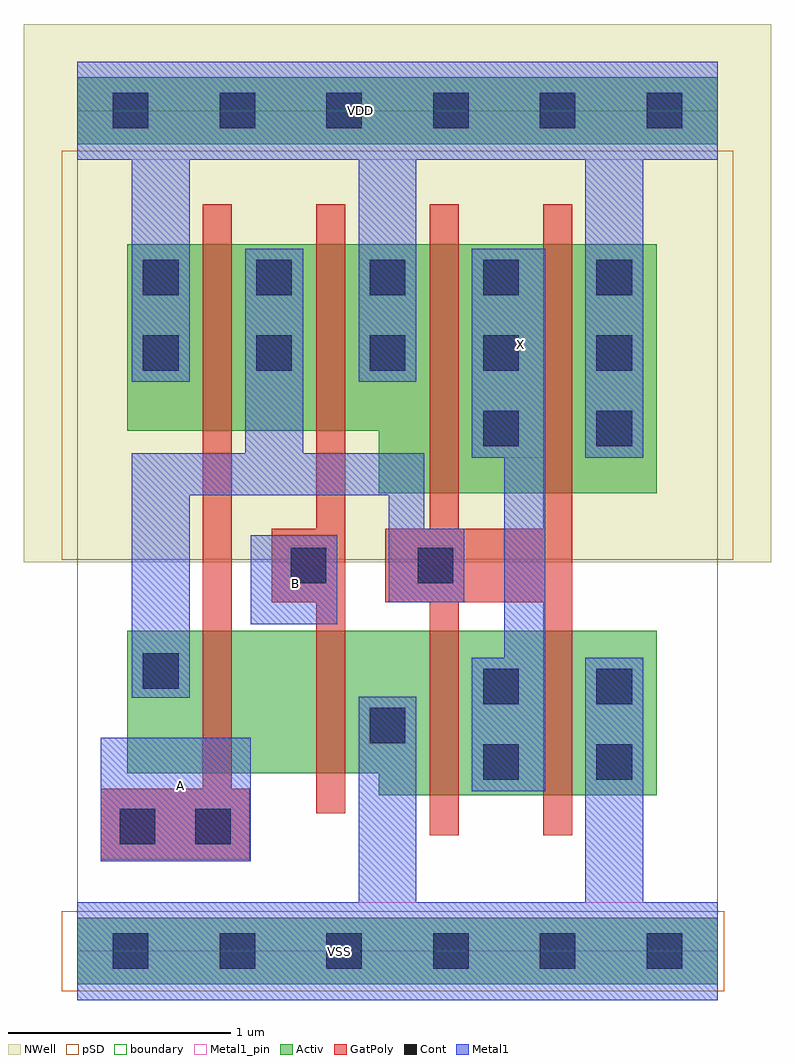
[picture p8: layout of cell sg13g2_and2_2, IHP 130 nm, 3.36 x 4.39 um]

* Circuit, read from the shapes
.subckt sg13g2_and2_2 A B VDD VSS X
XM1 n1 A n2 VSS sg13_lv_nmos w=0.64u l=0.13u
XM2 VSS B n1 VSS sg13_lv_nmos w=0.64u l=0.13u
XM3 X n2 VSS VSS sg13_lv_nmos w=0.74u l=0.13u m=2
XM4 n2 A VDD VDD sg13_lv_pmos w=0.84u l=0.13u
XM5 VDD B n2 VDD sg13_lv_pmos w=0.84u l=0.13u
XM6 X n2 VDD VDD sg13_lv_pmos w=1.12u l=0.13u m=2
.ends

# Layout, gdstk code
import gdstk
lib = gdstk.Library(unit=1e-6, precision=1e-09)
def R(c, l, rs):  # rectangles x0, y0, x1, y1
    for r in rs: c.add(gdstk.rectangle(r[:2], r[2:], *l))
def P(c, l, *ps):  # polygons
    for p in ps: c.add(gdstk.Polygon(p, *l))
Activ = (1, 0)
GatPoly = (5, 0)
Cont = (6, 0)
Metal1 = (8, 0)
Metal1_pin = (8, 2)
pSD = (14, 0)
NWell = (31, 0)
boundary = (189, 4)

sg13g2_and2_2 = lib.new_cell('sg13g2_and2_2')
R(sg13g2_and2_2, Activ, [(0,-0.15,2.88,0.15), (0,-0.15,2.88,0.15), (0,3.63,2.88,3.93), (0,3.63,2.88,3.93)])
P(sg13g2_and2_2, Activ, [(1.355,0.7),(1.355,0.8),(0.225,0.8),(0.225,1.44),(2.605,1.44),(2.605,0.7)],
  [(1.355,2.06),(1.355,2.34),(0.225,2.34),(0.225,3.18),(2.605,3.18),(2.605,2.06)],
  [(1.355,0.7),(1.355,0.8),(0.225,0.8),(0.225,1.44),(2.605,1.44),(2.605,0.7)],
  [(1.355,2.06),(1.355,2.34),(0.225,2.34),(0.225,3.18),(2.605,3.18),(2.605,2.06)])
P(sg13g2_and2_2, GatPoly, [(1.585,0.52),(1.585,1.57),(1.385,1.57),(1.385,1.9),(1.585,1.9),(1.585,3.36),(1.715,3.36),(1.715,1.9),(2.095,1.9),(2.095,3.36),(2.225,3.36),(2.225,0.52),(2.095,0.52),(2.095,1.57),(1.715,1.57),(1.715,0.52)],
  [(0.105,0.41),(0.105,0.73),(0.565,0.73),(0.565,3.36),(0.695,3.36),(0.695,0.73),(0.775,0.73),(0.775,0.41)],
  [(1.075,0.62),(1.075,1.57),(0.875,1.57),(0.875,1.9),(1.075,1.9),(1.075,3.36),(1.205,3.36),(1.205,0.62)],
  [(1.585,0.52),(1.585,1.57),(1.385,1.57),(1.385,1.9),(1.585,1.9),(1.585,3.36),(1.715,3.36),(1.715,1.9),(2.095,1.9),(2.095,3.36),(2.225,3.36),(2.225,0.52),(2.095,0.52),(2.095,1.57),(1.715,1.57),(1.715,0.52)],
  [(0.105,0.41),(0.105,0.73),(0.565,0.73),(0.565,3.36),(0.695,3.36),(0.695,0.73),(0.775,0.73),(0.775,0.41)],
  [(1.075,0.62),(1.075,1.57),(0.875,1.57),(0.875,1.9),(1.075,1.9),(1.075,3.36),(1.205,3.36),(1.205,0.62)])
R(sg13g2_and2_2, Cont, [(0.16,-0.08,0.32,0.08), (0.16,-0.08,0.32,0.08), (0.64,-0.08,0.8,0.08), (0.64,-0.08,0.8,0.08), (1.12,-0.08,1.28,0.08), (1.12,-0.08,1.28,0.08), (1.6,-0.08,1.76,0.08), (1.6,-0.08,1.76,0.08), (2.08,-0.08,2.24,0.08), (2.08,-0.08,2.24,0.08), (2.56,-0.08,2.72,0.08), (2.56,-0.08,2.72,0.08), (0.19,0.48,0.35,0.64), (0.19,0.48,0.35,0.64), (0.53,0.48,0.69,0.64), (0.53,0.48,0.69,0.64), (1.825,0.77,1.985,0.93), (1.825,0.77,1.985,0.93), (2.335,0.77,2.495,0.93), (2.335,0.77,2.495,0.93), (1.315,0.935,1.475,1.095), (1.315,0.935,1.475,1.095), (1.825,1.11,1.985,1.27), (1.825,1.11,1.985,1.27), (2.335,1.11,2.495,1.27), (2.335,1.11,2.495,1.27), (0.295,1.18,0.455,1.34), (0.295,1.18,0.455,1.34), (0.96,1.655,1.12,1.815), (0.96,1.655,1.12,1.815), (1.53,1.655,1.69,1.815), (1.53,1.655,1.69,1.815), (1.825,2.27,1.985,2.43), (1.825,2.27,1.985,2.43), (2.335,2.27,2.495,2.43), (2.335,2.27,2.495,2.43), (0.295,2.61,0.455,2.77), (0.295,2.61,0.455,2.77), (0.805,2.61,0.965,2.77), (0.805,2.61,0.965,2.77), (1.315,2.61,1.475,2.77), (1.315,2.61,1.475,2.77), (1.825,2.61,1.985,2.77), (1.825,2.61,1.985,2.77), (2.335,2.61,2.495,2.77), (2.335,2.61,2.495,2.77), (0.295,2.95,0.455,3.11), (0.295,2.95,0.455,3.11), (0.805,2.95,0.965,3.11), (0.805,2.95,0.965,3.11), (1.315,2.95,1.475,3.11), (1.315,2.95,1.475,3.11), (1.825,2.95,1.985,3.11), (1.825,2.95,1.985,3.11), (2.335,2.95,2.495,3.11), (2.335,2.95,2.495,3.11), (0.16,3.7,0.32,3.86), (0.16,3.7,0.32,3.86), (0.16,3.7,0.32,3.86), (0.16,3.7,0.32,3.86), (0.16,3.7,0.32,3.86), (0.16,3.7,0.32,3.86), (0.64,3.7,0.8,3.86), (0.64,3.7,0.8,3.86), (0.64,3.7,0.8,3.86), (0.64,3.7,0.8,3.86), (1.12,3.7,1.28,3.86), (1.12,3.7,1.28,3.86), (1.12,3.7,1.28,3.86), (1.12,3.7,1.28,3.86), (1.6,3.7,1.76,3.86), (1.6,3.7,1.76,3.86), (1.6,3.7,1.76,3.86), (1.6,3.7,1.76,3.86), (2.08,3.7,2.24,3.86), (2.08,3.7,2.24,3.86), (2.56,3.7,2.72,3.86), (2.56,3.7,2.72,3.86)])
R(sg13g2_and2_2, Metal1, [(0.105,0.405,0.78,0.96), (0.105,0.405,0.78,0.96), (0.78,1.47,1.17,1.87), (0.78,1.47,1.17,1.87)])
P(sg13g2_and2_2, Metal1, [(1.775,0.72),(1.775,1.32),(1.92,1.32),(1.92,2.22),(1.775,2.22),(1.775,3.16),(2.105,3.16),(2.105,0.72)],
  [(0,-0.22),(0,0.22),(1.265,0.22),(1.265,1.145),(1.525,1.145),(1.525,0.22),(2.285,0.22),(2.285,1.32),(2.545,1.32),(2.545,0.22),(2.88,0.22),(2.88,-0.22)],
  [(0.245,1.14),(0.245,2.24),(0.755,2.24),(0.755,3.16),(1.015,3.16),(1.015,2.24),(1.56,2.24),(1.56,1.9),(1.74,1.9),(1.74,1.57),(1.4,1.57),(1.4,2.05),(0.505,2.05),(0.505,1.14)],
  [(2.285,2.22),(2.285,3.56),(1.525,3.56),(1.525,2.56),(1.265,2.56),(1.265,3.56),(0.505,3.56),(0.505,2.56),(0.245,2.56),(0.245,3.56),(0,3.56),(0,4),(2.88,4),(2.88,3.56),(2.545,3.56),(2.545,2.22)],
  [(1.775,0.72),(1.775,1.32),(1.92,1.32),(1.92,2.22),(1.775,2.22),(1.775,3.16),(2.105,3.16),(2.105,0.72)],
  [(0,-0.22),(0,0.22),(1.265,0.22),(1.265,1.145),(1.525,1.145),(1.525,0.22),(2.285,0.22),(2.285,1.32),(2.545,1.32),(2.545,0.22),(2.88,0.22),(2.88,-0.22)],
  [(0.245,1.14),(0.245,2.24),(0.755,2.24),(0.755,3.16),(1.015,3.16),(1.015,2.24),(1.56,2.24),(1.56,1.9),(1.74,1.9),(1.74,1.57),(1.4,1.57),(1.4,2.05),(0.505,2.05),(0.505,1.14)],
  [(2.285,2.22),(2.285,3.56),(1.525,3.56),(1.525,2.56),(1.265,2.56),(1.265,3.56),(0.505,3.56),(0.505,2.56),(0.245,2.56),(0.245,3.56),(0,3.56),(0,4),(2.88,4),(2.88,3.56),(2.545,3.56),(2.545,2.22)])
R(sg13g2_and2_2, Metal1_pin, [(0,-0.22,2.88,0.22), (0,-0.22,2.88,0.22), (0.105,0.405,0.78,0.96), (0.105,0.405,0.78,0.96), (0.78,1.47,1.17,1.87), (0.78,1.47,1.17,1.87), (1.775,2.22,2.105,3.16), (1.775,2.22,2.105,3.16), (0,3.56,2.88,4), (0,3.56,2.88,4)])
R(sg13g2_and2_2, pSD, [(-0.07,-0.18,2.91,0.18), (-0.07,-0.18,2.91,0.18), (-0.07,1.76,2.95,3.6), (-0.07,1.76,2.95,3.6)])
R(sg13g2_and2_2, NWell, [(-0.24,1.75,0.72,4.17), (-0.24,1.75,0.72,4.17), (-0.24,1.75,2.64,4.17), (-0.24,1.75,2.64,4.17), (2.16,1.75,3.12,4.17), (2.16,1.75,3.12,4.17)])
R(sg13g2_and2_2, boundary, [(0,0,2.88,3.78), (0,0,2.88,3.78)])
sg13g2_and2_2.add(gdstk.Label('X', (1.995,2.73), layer=8, texttype=25))
sg13g2_and2_2.add(gdstk.Label('VSS', (1.18,0), layer=8, texttype=25))
sg13g2_and2_2.add(gdstk.Label('VDD', (1.275,3.78), layer=8, texttype=25))
sg13g2_and2_2.add(gdstk.Label('B', (0.98,1.655), layer=8, texttype=25))
sg13g2_and2_2.add(gdstk.Label('A', (0.465,0.745), layer=8, texttype=25))
sg13g2_and2_2.add(gdstk.Label('X', (1.995,2.73), layer=8, texttype=25))
sg13g2_and2_2.add(gdstk.Label('VSS', (1.18,0), layer=8, texttype=25))
sg13g2_and2_2.add(gdstk.Label('VDD', (1.275,3.78), layer=8, texttype=25))
sg13g2_and2_2.add(gdstk.Label('B', (0.98,1.655), layer=8, texttype=25))
sg13g2_and2_2.add(gdstk.Label('A', (0.465,0.745), layer=8, texttype=25))

lib.write_gds('sg13g2_and2_2.gds')
